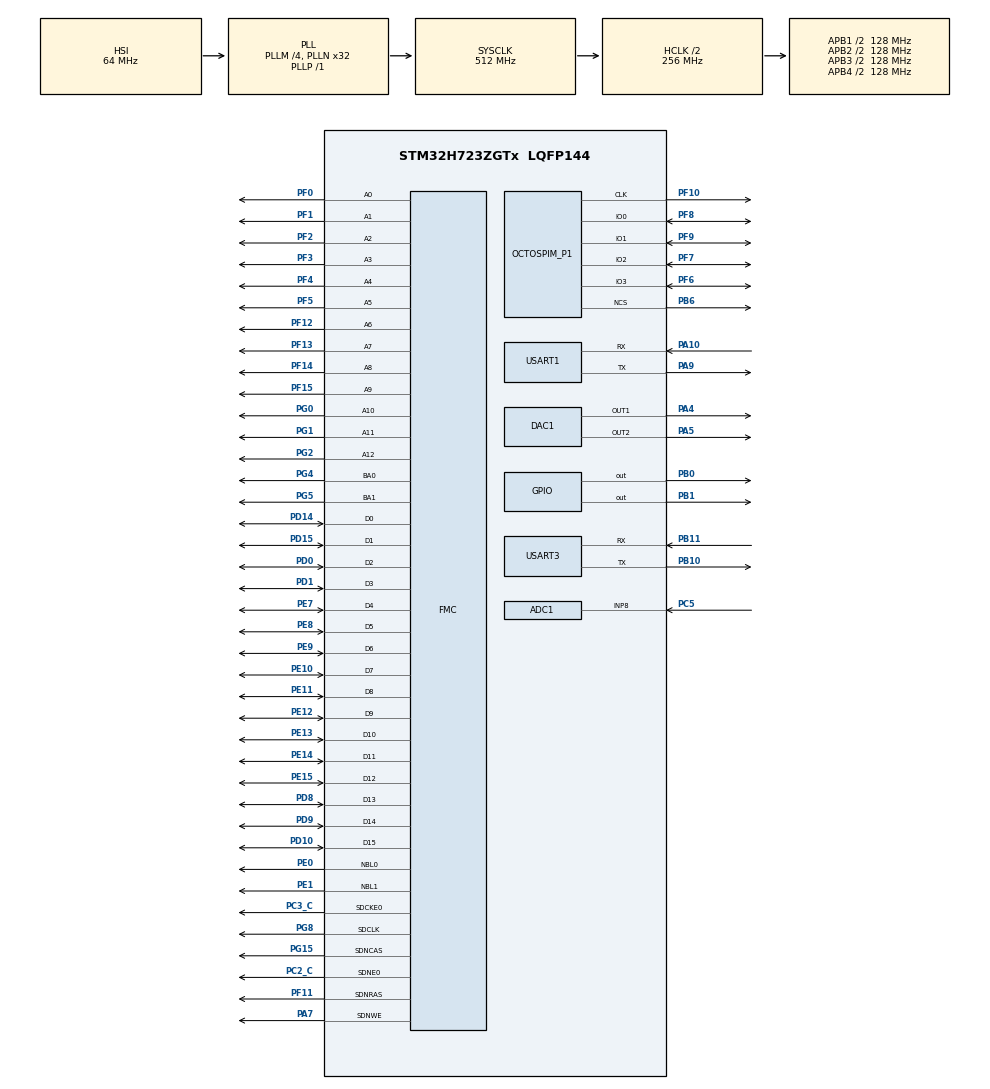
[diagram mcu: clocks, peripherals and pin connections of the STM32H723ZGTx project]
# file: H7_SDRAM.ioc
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ADC1.Channel-3\#ChannelRegularConversion=ADC_CHANNEL_8
ADC1.ClockPrescaler=ADC_CLOCK_ASYNC_DIV4
ADC1.ConversionDataManagement=ADC_CONVERSIONDATA_DMA_CIRCULAR
ADC1.ExternalTrigConv=ADC_EXTERNALTRIG_T4_TRGO
ADC1.NbrOfConversionFlag=1
ADC1.OffsetNumber-3\#ChannelRegularConversion=ADC_OFFSET_NONE
ADC1.OffsetSignedSaturation-3\#ChannelRegularConversion=DISABLE
ADC1.Rank-3\#ChannelRegularConversion=1
ADC1.Resolution=ADC_RESOLUTION_12B
ADC1.SamplingTime-3\#ChannelRegularConversion=ADC_SAMPLETIME_8CYCLES_5
ADC1.master=1
CORTEX_M7.AccessPermission_S-Cortex_Memory_Protection_Unit_Region1_Settings_S=MPU_REGION_FULL_ACCESS
CORTEX_M7.AccessPermission_S-Cortex_Memory_Protection_Unit_Region2_Settings_S=MPU_REGION_FULL_ACCESS
CORTEX_M7.AccessPermission_S-Cortex_Memory_Protection_Unit_Region3_Settings_S=MPU_REGION_FULL_ACCESS
CORTEX_M7.AccessPermission_S-Cortex_Memory_Protection_Unit_Region5_Settings_S=MPU_REGION_FULL_ACCESS
CORTEX_M7.AccessPermission_Spec=MPU_REGION_FULL_ACCESS
CORTEX_M7.BaseAddress_S-Cortex_Memory_Protection_Unit_Region1_Settings_S=0x60000000
CORTEX_M7.BaseAddress_S-Cortex_Memory_Protection_Unit_Region2_Settings_S=0x30000000
CORTEX_M7.BaseAddress_S-Cortex_Memory_Protection_Unit_Region3_Settings_S=0x38000000
CORTEX_M7.BaseAddress_S-Cortex_Memory_Protection_Unit_Region5_Settings_S=0xC0000000
CORTEX_M7.BaseAddress_Spec=0x24000000
CORTEX_M7.CPU_DCache=Enabled
CORTEX_M7.CPU_ICache=Enabled
CORTEX_M7.DisableExec_S-Cortex_Memory_Protection_Unit_Region1_Settings_S=MPU_INSTRUCTION_ACCESS_ENABLE
CORTEX_M7.DisableExec_S-Cortex_Memory_Protection_Unit_Region2_Settings_S=MPU_INSTRUCTION_ACCESS_ENABLE
CORTEX_M7.DisableExec_S-Cortex_Memory_Protection_Unit_Region3_Settings_S=MPU_INSTRUCTION_ACCESS_ENABLE
CORTEX_M7.DisableExec_Spec=MPU_INSTRUCTION_ACCESS_ENABLE
CORTEX_M7.Enable_S-Cortex_Memory_Protection_Unit_Region1_Settings_S=MPU_REGION_ENABLE
CORTEX_M7.Enable_S-Cortex_Memory_Protection_Unit_Region2_Settings_S=MPU_REGION_ENABLE
CORTEX_M7.Enable_S-Cortex_Memory_Protection_Unit_Region3_Settings_S=MPU_REGION_ENABLE
CORTEX_M7.Enable_S-Cortex_Memory_Protection_Unit_Region4_Settings_S=__NULL
CORTEX_M7.Enable_S-Cortex_Memory_Protection_Unit_Region5_Settings_S=MPU_REGION_ENABLE
CORTEX_M7.IsBufferable_S-Cortex_Memory_Protection_Unit_Region1_Settings_S=MPU_ACCESS_BUFFERABLE
CORTEX_M7.IsBufferable_S-Cortex_Memory_Protection_Unit_Region2_Settings_S=MPU_ACCESS_BUFFERABLE
CORTEX_M7.IsBufferable_Spec=MPU_ACCESS_BUFFERABLE
CORTEX_M7.IsCacheable_S-Cortex_Memory_Protection_Unit_Region1_Settings_S=MPU_ACCESS_NOT_CACHEABLE
CORTEX_M7.IsCacheable_S-Cortex_Memory_Protection_Unit_Region2_Settings_S=MPU_ACCESS_CACHEABLE
CORTEX_M7.IsCacheable_S-Cortex_Memory_Protection_Unit_Region3_Settings_S=MPU_ACCESS_CACHEABLE
CORTEX_M7.IsCacheable_S-Cortex_Memory_Protection_Unit_Region5_Settings_S=MPU_ACCESS_CACHEABLE
CORTEX_M7.IsCacheable_Spec=MPU_ACCESS_CACHEABLE
CORTEX_M7.IsShareable_Spec=MPU_ACCESS_NOT_SHAREABLE
CORTEX_M7.Size_S-Cortex_Memory_Protection_Unit_Region1_Settings_S=MPU_REGION_SIZE_64KB
CORTEX_M7.Size_S-Cortex_Memory_Protection_Unit_Region2_Settings_S=MPU_REGION_SIZE_64KB
CORTEX_M7.Size_S-Cortex_Memory_Protection_Unit_Region3_Settings_S=MPU_REGION_SIZE_64KB
CORTEX_M7.Size_S-Cortex_Memory_Protection_Unit_Region5_Settings_S=MPU_REGION_SIZE_32MB
CORTEX_M7.Size_Spec=MPU_REGION_SIZE_512KB
CORTEX_M7.SubRegionDisable_S-Cortex_Memory_Protection_Unit_Region1_Settings_S=0x00
CORTEX_M7.SubRegionDisable_Spec=0xE0
CORTEX_M7.TypeExtField_S-Cortex_Memory_Protection_Unit_Region1_Settings_S=MPU_TEX_LEVEL1
CORTEX_M7.TypeExtField_S-Cortex_Memory_Protection_Unit_Region5_Settings_S=MPU_TEX_LEVEL1
CORTEX_M7.TypeExtField_Spec=MPU_TEX_LEVEL1
CORTEX_M7.default_mode_Activation=1
DAC1.DAC_Channel-DAC_OUT1=DAC_CHANNEL_1
DAC1.DAC_Channel-DAC_OUT2=DAC_CHANNEL_2
DAC1.DAC_Trigger-DAC_OUT1=DAC_TRIGGER_T4_TRGO
DAC1.DAC_Trigger-DAC_OUT2=DAC_TRIGGER_T4_TRGO
Dma.ADC1.3.Direction=DMA_PERIPH_TO_MEMORY
Dma.ADC1.3.EventEnable=DISABLE
Dma.ADC1.3.FIFOMode=DMA_FIFOMODE_DISABLE
Dma.ADC1.3.Instance=DMA1_Stream0
Dma.ADC1.3.MemDataAlignment=DMA_MDATAALIGN_HALFWORD
Dma.ADC1.3.MemInc=DMA_MINC_ENABLE
Dma.ADC1.3.Mode=DMA_CIRCULAR
Dma.ADC1.3.PeriphDataAlignment=DMA_PDATAALIGN_HALFWORD
Dma.ADC1.3.PeriphInc=DMA_PINC_DISABLE
Dma.ADC1.3.Polarity=HAL_DMAMUX_REQ_GEN_RISING
Dma.ADC1.3.Priority=DMA_PRIORITY_HIGH
Dma.ADC1.3.RequestNumber=1
Dma.ADC1.3.SignalID=NONE
Dma.ADC1.3.SyncEnable=DISABLE
Dma.ADC1.3.SyncPolarity=HAL_DMAMUX_SYNC_NO_EVENT
Dma.ADC1.3.SyncRequestNumber=1
Dma.ADC1.3.SyncSignalID=NONE
Dma.DAC1_CH1.2.Direction=DMA_MEMORY_TO_PERIPH
Dma.DAC1_CH1.2.EventEnable=DISABLE
Dma.DAC1_CH1.2.FIFOMode=DMA_FIFOMODE_DISABLE
Dma.DAC1_CH1.2.Instance=DMA1_Stream3
Dma.DAC1_CH1.2.MemDataAlignment=DMA_MDATAALIGN_HALFWORD
Dma.DAC1_CH1.2.MemInc=DMA_MINC_ENABLE
Dma.DAC1_CH1.2.Mode=DMA_CIRCULAR
Dma.DAC1_CH1.2.PeriphDataAlignment=DMA_PDATAALIGN_HALFWORD
Dma.DAC1_CH1.2.PeriphInc=DMA_PINC_DISABLE
Dma.DAC1_CH1.2.Polarity=HAL_DMAMUX_REQ_GEN_RISING
Dma.DAC1_CH1.2.Priority=DMA_PRIORITY_HIGH
Dma.DAC1_CH1.2.RequestNumber=1
Dma.DAC1_CH1.2.SignalID=NONE
Dma.DAC1_CH1.2.SyncEnable=DISABLE
Dma.DAC1_CH1.2.SyncPolarity=HAL_DMAMUX_SYNC_NO_EVENT
Dma.DAC1_CH1.2.SyncRequestNumber=1
Dma.DAC1_CH1.2.SyncSignalID=NONE
Dma.DAC1_CH2.4.Direction=DMA_MEMORY_TO_PERIPH
Dma.DAC1_CH2.4.EventEnable=DISABLE
Dma.DAC1_CH2.4.FIFOMode=DMA_FIFOMODE_DISABLE
Dma.DAC1_CH2.4.Instance=DMA1_Stream5
Dma.DAC1_CH2.4.MemDataAlignment=DMA_MDATAALIGN_HALFWORD
Dma.DAC1_CH2.4.MemInc=DMA_MINC_ENABLE
Dma.DAC1_CH2.4.Mode=DMA_CIRCULAR
Dma.DAC1_CH2.4.PeriphDataAlignment=DMA_PDATAALIGN_HALFWORD
Dma.DAC1_CH2.4.PeriphInc=DMA_PINC_DISABLE
Dma.DAC1_CH2.4.Polarity=HAL_DMAMUX_REQ_GEN_RISING
Dma.DAC1_CH2.4.Priority=DMA_PRIORITY_HIGH
Dma.DAC1_CH2.4.RequestNumber=1
Dma.DAC1_CH2.4.SignalID=NONE
Dma.DAC1_CH2.4.SyncEnable=DISABLE
Dma.DAC1_CH2.4.SyncPolarity=HAL_DMAMUX_SYNC_NO_EVENT
Dma.DAC1_CH2.4.SyncRequestNumber=1
Dma.DAC1_CH2.4.SyncSignalID=NONE
Dma.Request0=USART1_RX
Dma.Request1=USART3_RX
Dma.Request2=DAC1_CH1
Dma.Request3=ADC1
Dma.Request4=DAC1_CH2
Dma.USART1_RX.0.Direction=DMA_PERIPH_TO_MEMORY
Dma.USART1_RX.0.EventEnable=DISABLE
Dma.USART1_RX.0.FIFOMode=DMA_FIFOMODE_DISABLE
Dma.USART1_RX.0.Instance=DMA1_Stream1
Dma.USART1_RX.0.MemDataAlignment=DMA_MDATAALIGN_BYTE
Dma.USART1_RX.0.MemInc=DMA_MINC_ENABLE
Dma.USART1_RX.0.Mode=DMA_NORMAL
Dma.USART1_RX.0.PeriphDataAlignment=DMA_PDATAALIGN_BYTE
Dma.USART1_RX.0.PeriphInc=DMA_PINC_DISABLE
Dma.USART1_RX.0.Polarity=HAL_DMAMUX_REQ_GEN_RISING
Dma.USART1_RX.0.Priority=DMA_PRIORITY_HIGH
Dma.USART1_RX.0.RequestNumber=1
Dma.USART1_RX.0.SignalID=NONE
Dma.USART1_RX.0.SyncEnable=DISABLE
Dma.USART1_RX.0.SyncPolarity=HAL_DMAMUX_SYNC_NO_EVENT
Dma.USART1_RX.0.SyncRequestNumber=1
Dma.USART1_RX.0.SyncSignalID=NONE
Dma.USART3_RX.1.Direction=DMA_PERIPH_TO_MEMORY
Dma.USART3_RX.1.EventEnable=DISABLE
Dma.USART3_RX.1.FIFOMode=DMA_FIFOMODE_DISABLE
Dma.USART3_RX.1.Instance=DMA1_Stream2
Dma.USART3_RX.1.MemDataAlignment=DMA_MDATAALIGN_BYTE
Dma.USART3_RX.1.MemInc=DMA_MINC_ENABLE
Dma.USART3_RX.1.Mode=DMA_NORMAL
Dma.USART3_RX.1.PeriphDataAlignment=DMA_PDATAALIGN_BYTE
Dma.USART3_RX.1.PeriphInc=DMA_PINC_DISABLE
Dma.USART3_RX.1.Polarity=HAL_DMAMUX_REQ_GEN_RISING
Dma.USART3_RX.1.Priority=DMA_PRIORITY_MEDIUM
Dma.USART3_RX.1.RequestNumber=1
Dma.USART3_RX.1.SignalID=NONE
Dma.USART3_RX.1.SyncEnable=DISABLE
Dma.USART3_RX.1.SyncPolarity=HAL_DMAMUX_SYNC_NO_EVENT
Dma.USART3_RX.1.SyncRequestNumber=1
Dma.USART3_RX.1.SyncSignalID=NONE
FMC.CASLatency1=FMC_SDRAM_CAS_LATENCY_3
FMC.ColumnBitsNumber1=FMC_SDRAM_COLUMN_BITS_NUM_9
FMC.ExitSelfRefreshDelay1=10
FMC.LoadToActiveDelay1=2
FMC.RCDDelay1=2
FMC.RPDelay1=3
FMC.RPDelay2=3
FMC.ReadBurst1=FMC_SDRAM_RBURST_ENABLE
FMC.ReadPipeDelay1=FMC_SDRAM_RPIPE_DELAY_1
FMC.ReadPipeDelay2=FMC_SDRAM_RPIPE_DELAY_1
FMC.RowCycleDelay1=9
FMC.RowCycleDelay2=9
FMC.SDClockPeriod1=FMC_SDRAM_CLOCK_PERIOD_2
FMC.SelfRefreshTime1=6
FMC.WriteRecoveryTime1=4
Mcu.Family=STM32H7
Mcu.Name=STM32H723ZGTx
Mcu.Package=LQFP144
NVIC.ADC_IRQn=true\:0\:0\:false\:false\:true\:true\:true\:true
NVIC.DMA1_Stream0_IRQn=true\:0\:0\:false\:false\:true\:false\:true\:true
NVIC.DMA1_Stream1_IRQn=true\:1\:0\:true\:false\:true\:false\:true\:true
NVIC.DMA1_Stream2_IRQn=true\:0\:0\:false\:false\:true\:false\:true\:true
NVIC.DMA1_Stream3_IRQn=true\:0\:0\:false\:false\:true\:false\:true\:true
NVIC.DMA1_Stream5_IRQn=true\:0\:0\:false\:false\:true\:false\:true\:true
NVIC.PriorityGroup=NVIC_PRIORITYGROUP_4
NVIC.TIM6_DAC_IRQn=true\:0\:0\:false\:false\:true\:true\:true\:true
NVIC.USART1_IRQn=true\:0\:0\:false\:false\:true\:true\:true\:true
NVIC.USART3_IRQn=true\:0\:0\:false\:false\:true\:true\:true\:true
OCTOSPI1.ChipSelectHighTime=4
OCTOSPI1.ClockPrescaler=3
OCTOSPI1.DeviceSize=23
OCTOSPI1.FifoThreshold=4
OCTOSPI1.SampleShifting=HAL_OSPI_SAMPLE_SHIFTING_HALFCYCLE
PA10.Mode=Asynchronous
PA10.Signal=USART1_RX
PA4.Signal=COMP_DAC11_group
PA5.Signal=COMP_DAC12_group
PA7.Signal=FMC_SDNWE
PA9.Mode=Asynchronous
PA9.Signal=USART1_TX
PB0.GPIO_Speed=GPIO_SPEED_FREQ_VERY_HIGH
PB0.PinState=GPIO_PIN_SET
PB0.Signal=GPIO_Output
PB1.GPIO_Speed=GPIO_SPEED_FREQ_VERY_HIGH
PB1.PinState=GPIO_PIN_SET
PB1.Signal=GPIO_Output
PB10.Mode=Asynchronous
PB10.Signal=USART3_TX
PB11.Mode=Asynchronous
PB11.Signal=USART3_RX
PB6.Mode=OCTOSPI1_Port1_NCS
PB6.Signal=OCTOSPIM_P1_NCS
PC14-OSC32_IN.Mode=LSE-External-Oscillator
PC14-OSC32_IN.Signal=RCC_OSC32_IN
PC15-OSC32_OUT.Mode=LSE-External-Oscillator
PC15-OSC32_OUT.Signal=RCC_OSC32_OUT
PC2_C.Mode=SdramChipSelect1_1
PC2_C.Signal=FMC_SDNE0
PC3_C.Mode=SdramChipSelect1_1
PC3_C.Signal=FMC_SDCKE0
PC5.Signal=ADCx_INP8
PD0.Signal=FMC_D2_DA2
PD1.Signal=FMC_D3_DA3
PD10.Signal=FMC_D15_DA15
PD14.Signal=FMC_D0_DA0
PD15.Signal=FMC_D1_DA1
PD8.Signal=FMC_D13_DA13
PD9.Signal=FMC_D14_DA14
PE0.Signal=FMC_NBL0
PE1.Signal=FMC_NBL1
PE10.Signal=FMC_D7_DA7
PE11.Signal=FMC_D8_DA8
PE12.Signal=FMC_D9_DA9
PE13.Signal=FMC_D10_DA10
PE14.Signal=FMC_D11_DA11
PE15.Signal=FMC_D12_DA12
PE7.Signal=FMC_D4_DA4
PE8.Signal=FMC_D5_DA5
PE9.Signal=FMC_D6_DA6
PF0.Signal=FMC_A0
PF1.Signal=FMC_A1
PF10.Mode=O1_P1_CLK
PF10.Signal=OCTOSPIM_P1_CLK
PF11.Signal=FMC_SDNRAS
PF12.Signal=FMC_A6
PF13.Signal=FMC_A7
PF14.Signal=FMC_A8
PF15.Signal=FMC_A9
PF2.Signal=FMC_A2
PF3.Signal=FMC_A3
PF4.Signal=FMC_A4
PF5.Signal=FMC_A5
PF6.Mode=OCTOSPI1_IOL_Port1L
PF6.Signal=OCTOSPIM_P1_IO3
PF7.Mode=OCTOSPI1_IOL_Port1L
PF7.Signal=OCTOSPIM_P1_IO2
PF8.Mode=OCTOSPI1_IOL_Port1L
PF8.Signal=OCTOSPIM_P1_IO0
PF9.Mode=OCTOSPI1_IOL_Port1L
PF9.Signal=OCTOSPIM_P1_IO1
PG0.Signal=FMC_A10
PG1.Signal=FMC_A11
PG15.Signal=FMC_SDNCAS
PG2.Signal=FMC_A12
PG4.Signal=FMC_A14_BA0
PG5.Signal=FMC_A15_BA1
PG8.Signal=FMC_SDCLK
PH0-OSC_IN.Mode=HSE-External-Oscillator
PH0-OSC_IN.Signal=RCC_OSC_IN
PH1-OSC_OUT.Mode=HSE-External-Oscillator
PH1-OSC_OUT.Signal=RCC_OSC_OUT
ProjectManager.HeapSize=0x4000
ProjectManager.StackSize=0x4000
ProjectManager.TargetToolchain=MDK-ARM V5.32
RCC.ADCCLockSelection=RCC_ADCCLKSOURCE_CLKP
RCC.ADCFreq_Value=64000000
RCC.APB1Freq_Value=128000000
RCC.APB2Freq_Value=128000000
RCC.APB3Freq_Value=128000000
RCC.APB4Freq_Value=128000000
RCC.CortexFreq_Value=512000000
RCC.D1PPRE=RCC_APB3_DIV2
RCC.D2PPRE1=RCC_APB1_DIV2
RCC.D2PPRE2=RCC_APB2_DIV2
RCC.D3PPRE=RCC_APB4_DIV2
RCC.DIVM1=4
RCC.DIVN1=32
RCC.DIVP1=1
RCC.HCLKFreq_Value=256000000
RCC.HPRE=RCC_HCLK_DIV2
RCC.PLL2FRACN=0
RCC.PLL3FRACN=0
RCC.PLLFRACN=0
RCC.SYSCLKFreq_VALUE=512000000
RCC.SYSCLKSource=RCC_SYSCLKSOURCE_PLLCLK
RCC.USBFreq_Value=256000000
SH.ADCx_INP8.0=ADC1_INP8,IN8-Single-Ended
SH.COMP_DAC11_group.0=DAC1_OUT1,DAC_OUT1
SH.COMP_DAC12_group.0=DAC1_OUT2,DAC_OUT2
SH.FMC_A0.0=FMC_A0,13b-sda1
SH.FMC_A1.0=FMC_A1,13b-sda1
SH.FMC_A10.0=FMC_A10,13b-sda1
SH.FMC_A11.0=FMC_A11,13b-sda1
SH.FMC_A12.0=FMC_A12,13b-sda1
SH.FMC_A14_BA0.0=FMC_BA0,FourSdramBanks1
SH.FMC_A15_BA1.0=FMC_BA1,FourSdramBanks1
SH.FMC_A2.0=FMC_A2,13b-sda1
SH.FMC_A3.0=FMC_A3,13b-sda1
SH.FMC_A4.0=FMC_A4,13b-sda1
SH.FMC_A5.0=FMC_A5,13b-sda1
SH.FMC_A6.0=FMC_A6,13b-sda1
SH.FMC_A7.0=FMC_A7,13b-sda1
SH.FMC_A8.0=FMC_A8,13b-sda1
SH.FMC_A9.0=FMC_A9,13b-sda1
SH.FMC_D0_DA0.0=FMC_D0,sd-16b-d1
SH.FMC_D10_DA10.0=FMC_D10,sd-16b-d1
SH.FMC_D11_DA11.0=FMC_D11,sd-16b-d1
SH.FMC_D12_DA12.0=FMC_D12,sd-16b-d1
SH.FMC_D13_DA13.0=FMC_D13,sd-16b-d1
SH.FMC_D14_DA14.0=FMC_D14,sd-16b-d1
SH.FMC_D15_DA15.0=FMC_D15,sd-16b-d1
SH.FMC_D1_DA1.0=FMC_D1,sd-16b-d1
SH.FMC_D2_DA2.0=FMC_D2,sd-16b-d1
SH.FMC_D3_DA3.0=FMC_D3,sd-16b-d1
SH.FMC_D4_DA4.0=FMC_D4,sd-16b-d1
SH.FMC_D5_DA5.0=FMC_D5,sd-16b-d1
SH.FMC_D6_DA6.0=FMC_D6,sd-16b-d1
SH.FMC_D7_DA7.0=FMC_D7,sd-16b-d1
SH.FMC_D8_DA8.0=FMC_D8,sd-16b-d1
SH.FMC_D9_DA9.0=FMC_D9,sd-16b-d1
SH.FMC_NBL0.0=FMC_NBL0,Sd2ByteEnable1
SH.FMC_NBL1.0=FMC_NBL1,Sd2ByteEnable1
SH.FMC_SDCLK.0=FMC_SDCLK,13b-sda1
SH.FMC_SDNCAS.0=FMC_SDNCAS,13b-sda1
SH.FMC_SDNRAS.0=FMC_SDNRAS,13b-sda1
SH.FMC_SDNWE.0=FMC_SDNWE,13b-sda1
TIM3.AutoReloadPreload=TIM_AUTORELOAD_PRELOAD_ENABLE
TIM3.Period=110-1
TIM3.Prescaler=275-1
TIM3.TIM_MasterOutputTrigger=TIM_TRGO_UPDATE
TIM4.AutoReloadPreload=TIM_AUTORELOAD_PRELOAD_ENABLE
TIM4.Period=11-1
TIM4.Prescaler=50-1
TIM4.TIM_MasterOutputTrigger=TIM_TRGO_UPDATE
USART1.VirtualMode-Asynchronous=VM_ASYNC
USART3.VirtualMode-Asynchronous=VM_ASYNC
VP_MEMORYMAP_VS_MEMORYMAP.Mode=CurAppReg
VP_OCTOSPI1_VS_quad.Mode=quad_mode
VP_TIM3_VS_ClockSourceINT.Mode=Internal
VP_TIM4_VS_ClockSourceINT.Mode=Internal
board=custom

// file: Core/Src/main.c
/* USER CODE BEGIN Header */
/**
  ******************************************************************************
  * @file           : main.c
  * @brief          : Main program body
  ******************************************************************************
  * @attention
  *
  * Copyright (c) 2026 STMicroelectronics.
  * All rights reserved.
  *
  * This software is licensed under terms that can be found in the LICENSE file
  * in the root directory of this software component.
  * If no LICENSE file comes with this software, it is provided AS-IS.
  *
  ******************************************************************************
  */
/* USER CODE END Header */
#include "main.h"
#include "adc.h"
#include "dac.h"
#include "dma.h"
#include "octospi.h"
#include "tim.h"
#include "usart.h"
#include "gpio.h"
#include "fmc.h"

/* USER CODE BEGIN Includes */
#include "bspsysteam.h"

/* USER CODE END Includes */

void SystemClock_Config(void);
void PeriphCommonClock_Config(void);
static void MPU_Config(void);

/* USER CODE BEGIN 0 */

/* USER CODE BEGIN Includes */
#include "arm_math.h"
#include <string.h>
#include <stdint.h>
/* USER CODE END Includes */

/* USER CODE BEGIN 0 */

/* ===================== 参数配置 ===================== */

/* ===================== 参数配置 ===================== */

#define CACHE_LINE_SIZE         32U

#define FFT_LENGTH              4096U
#define ADC_DMA_LENGTH          (FFT_LENGTH * 2U)
#define DAC_DMA_LENGTH          (FFT_LENGTH * 2U)

#define SAMPLE_RATE             512000.0f
#define FFT_BIN_HZ              (SAMPLE_RATE / (float32_t)FFT_LENGTH)

#define DAC_CENTER              2048.0f

#define DC_IGNORE_BINS          4U

/*
 * 512kHz / 4096 = 125Hz
 * 1kHz = 8 个 FFT bin
 */
#define BINS_PER_1KHZ           8U

#define DEFAULT_OUTPUT_GAIN     0.8f

/*
 * 块间连续 + 慢速跟踪的相位修正系数。
 *
 * 0.01f  更平滑，但锁相更慢
 * 0.03f  一般比较折中
 * 0.08f  跟踪更快，但更容易看到块间晃动
 */
#define PHASE_TRACK_ALPHA       0.03f

/*
 * 频点锁定/滞回参数。
 *
 * PEAK_SWITCH_RATIO:
 *     新频点能量必须大于当前锁定频点能量的这个倍数，才允许切换。
 *
 * PEAK_UNLOCK_RATIO:
 *     如果当前锁定频点能量低于候选最大频点能量的这个比例，认为当前锁定失效。
 *
 * PEAK_MIN_MAG2:
 *     太小的信号不锁定，防止噪声乱跳。
 */
#define PEAK_SWITCH_RATIO       1.40f
#define PEAK_UNLOCK_RATIO       0.35f
#define PEAK_MIN_MAG2           1000.0f

/*
 * CMSIS arm_cfft_f32 的 IFFT 一般已经带 1/N 缩放。
 * 如果你的输出幅值大了 4096 倍，把这里改成：
 * #define IFFT_EXTRA_SCALE      (1.0f / (float32_t)FFT_LENGTH)
 */
#define IFFT_EXTRA_SCALE        1.0f

#ifndef PI
#define PI                      3.14159265358979323846f
#endif

/* ===================== 外部句柄 ===================== */

extern ADC_HandleTypeDef hadc1;
extern DAC_HandleTypeDef hdac1;
extern TIM_HandleTypeDef htim4;

/* ===================== 用户运行中可改参数 ===================== */

volatile float32_t user_phase_shift_rad = 0.0f;
volatile float32_t user_output_gain = DEFAULT_OUTPUT_GAIN;

/* ===================== DMA Buffer ===================== */

__attribute__((section(".RAM_D1"), aligned(32)))
uint16_t adc_dma_buf[ADC_DMA_LENGTH];

__attribute__((section(".RAM_D1"), aligned(32)))
uint16_t dac_dma_buf[DAC_DMA_LENGTH];

/* ===================== DSP Buffer ===================== */

__attribute__((section(".DTCM_DATA"), aligned(32)))
float32_t fft_buffer[FFT_LENGTH * 2U];

static arm_cfft_instance_f32 fft_inst;

/* ===================== 乒乓标志 ===================== */

volatile uint8_t adc_half_ready = 0U;
volatile uint8_t adc_full_ready = 0U;
volatile uint8_t dac_half_free = 0U;
volatile uint8_t dac_full_free = 0U;

/* ===================== 相位连续状态 ===================== */

static float32_t output_phase_state = 0.0f;
static float32_t last_user_phase_shift_rad = 0.0f;
static uint32_t last_peak_bin = 0U;
static uint8_t output_phase_state_valid = 0U;

/* ===================== 频点锁定状态 ===================== */

static uint32_t locked_peak_bin = 0U;
static uint8_t peak_lock_valid = 0U;

/* ===================== Cache 操作 ===================== */

__attribute__((section(".ITCM_CODE")))
static void DCache_Invalidate_By_Addr(void *addr, uint32_t size)
{
    uint32_t start_addr = (uint32_t)addr;
    uint32_t end_addr = start_addr + size;

    start_addr &= ~(CACHE_LINE_SIZE - 1U);
    end_addr = (end_addr + CACHE_LINE_SIZE - 1U) & ~(CACHE_LINE_SIZE - 1U);

    SCB_InvalidateDCache_by_Addr((uint32_t *)start_addr,
                                 (int32_t)(end_addr - start_addr));
}

__attribute__((section(".ITCM_CODE")))
static void DCache_Clean_By_Addr(void *addr, uint32_t size)
{
    uint32_t start_addr = (uint32_t)addr;
    uint32_t end_addr = start_addr + size;

    start_addr &= ~(CACHE_LINE_SIZE - 1U);
    end_addr = (end_addr + CACHE_LINE_SIZE - 1U) & ~(CACHE_LINE_SIZE - 1U);

    SCB_CleanDCache_by_Addr((uint32_t *)start_addr,
                            (int32_t)(end_addr - start_addr));
}

/* ===================== 工具函数 ===================== */

__attribute__((section(".ITCM_CODE")))
static float32_t wrap_to_pi(float32_t x)
{
    while (x > PI) {
        x -= 2.0f * PI;
    }

    while (x < -PI) {
        x += 2.0f * PI;
    }

    return x;
}

__attribute__((section(".ITCM_CODE")))
static float32_t clamp_f32(float32_t x, float32_t min_v, float32_t max_v)
{
    if (x < min_v) {
        return min_v;
    }

    if (x > max_v) {
        return max_v;
    }

    return x;
}

__attribute__((section(".ITCM_CODE")))
static float32_t get_bin_mag2(const float32_t *buf, uint32_t bin)
{
    float32_t re;
    float32_t im;

    if ((bin == 0U) || (bin >= (FFT_LENGTH / 2U))) {
        return 0.0f;
    }

    re = buf[bin * 2U];
    im = buf[bin * 2U + 1U];

    return re * re + im * im;
}

__attribute__((section(".ITCM_CODE")))
static uint32_t snap_bin_to_1khz_multiple(uint32_t bin)
{
    uint32_t snapped;

    if (bin < BINS_PER_1KHZ) {
        return BINS_PER_1KHZ;
    }

    snapped = ((bin + (BINS_PER_1KHZ / 2U)) / BINS_PER_1KHZ) * BINS_PER_1KHZ;

    if (snapped < BINS_PER_1KHZ) {
        snapped = BINS_PER_1KHZ;
    }

    if (snapped >= (FFT_LENGTH / 2U)) {
        snapped = (FFT_LENGTH / 2U) - BINS_PER_1KHZ;
    }

    return snapped;
}

__attribute__((section(".ITCM_CODE")))
static uint32_t find_raw_peak_bin(const float32_t *buf, float32_t *peak_mag2_out)
{
    float32_t max_mag2 = 0.0f;
    uint32_t max_bin = BINS_PER_1KHZ;

    for (uint32_t k = DC_IGNORE_BINS; k < (FFT_LENGTH / 2U); k++) {
        float32_t mag2 = get_bin_mag2(buf, k);

        if (mag2 > max_mag2) {
            max_mag2 = mag2;
            max_bin = k;
        }
    }

    *peak_mag2_out = max_mag2;

    return max_bin;
}

/*
 * 频点锁定/滞回。
 *
 * 已锁定时：
 * 1. 如果候选频点和锁定频点相同，继续保持。
 * 2. 如果候选频点不同，只有候选能量明显更强才切换。
 * 3. 如果锁定频点能量已经很弱，也允许切换。
 */
__attribute__((section(".ITCM_CODE")))
static uint32_t get_locked_peak_bin(const float32_t *buf)
{
    uint32_t raw_peak_bin;
    uint32_t candidate_bin;
    float32_t raw_peak_mag2;
    float32_t candidate_mag2;
    float32_t locked_mag2;

    raw_peak_bin = find_raw_peak_bin(buf, &raw_peak_mag2);
    candidate_bin = snap_bin_to_1khz_multiple(raw_peak_bin);
    candidate_mag2 = get_bin_mag2(buf, candidate_bin);

    if ((peak_lock_valid == 0U) || (candidate_mag2 < PEAK_MIN_MAG2)) {
        locked_peak_bin = candidate_bin;
        peak_lock_valid = 1U;
        return locked_peak_bin;
    }

    locked_mag2 = get_bin_mag2(buf, locked_peak_bin);

    if (candidate_bin == locked_peak_bin) {
        return locked_peak_bin;
    }

    if (locked_mag2 < PEAK_MIN_MAG2) {
        locked_peak_bin = candidate_bin;
        return locked_peak_bin;
    }

    if (locked_mag2 < (candidate_mag2 * PEAK_UNLOCK_RATIO)) {
        locked_peak_bin = candidate_bin;
        return locked_peak_bin;
    }

    if (candidate_mag2 > (locked_mag2 * PEAK_SWITCH_RATIO)) {
        locked_peak_bin = candidate_bin;
        return locked_peak_bin;
    }

    return locked_peak_bin;
}

__attribute__((section(".ITCM_CODE")))
static void zero_complex_spectrum(float32_t *buf)
{
    for (uint32_t i = 0; i < FFT_LENGTH * 2U; i++) {
        buf[i] = 0.0f;
    }
}

/*
 * 使用 tan(phi') 公式计算 Re' / Im'，并做象限修正。
 */
__attribute__((section(".ITCM_CODE")))
static void calc_re_im_by_tan_formula(float32_t amp,
                                      float32_t phase,
                                      float32_t *re_out,
                                      float32_t *im_out)
{
    float32_t phase_wrapped = wrap_to_pi(phase);
    float32_t cos_p = arm_cos_f32(phase_wrapped);
    float32_t sin_p = arm_sin_f32(phase_wrapped);
    float32_t tan_p;
    float32_t re_new;
    float32_t im_new;

    if (fabsf(cos_p) < 1.0e-6f) {
        *re_out = 0.0f;
        *im_out = (sin_p >= 0.0f) ? amp : -amp;
        return;
    }

    tan_p = sin_p / cos_p;

    re_new = sqrtf((amp * amp) / (1.0f + tan_p * tan_p));
    im_new = tan_p * re_new;

    if (cos_p < 0.0f) {
        re_new = -re_new;
        im_new = -im_new;
    }

    *re_out = re_new;
    *im_out = im_new;
}

/*
 * 块间相位连续 + 慢速输入相位跟踪。
 */
__attribute__((section(".ITCM_CODE")))
static float32_t get_continuous_block_phase(uint32_t peak_bin,
                                            float32_t measured_phase,
                                            float32_t phase_shift)
{
    float32_t desired_phase;
    float32_t phase_shift_delta;
    float32_t phase_error;

    desired_phase = wrap_to_pi(measured_phase + phase_shift);

    if ((output_phase_state_valid == 0U) || (peak_bin != last_peak_bin)) {
        output_phase_state = desired_phase;
        last_user_phase_shift_rad = phase_shift;
        last_peak_bin = peak_bin;
        output_phase_state_valid = 1U;
        return output_phase_state;
    }

    phase_shift_delta = phase_shift - last_user_phase_shift_rad;

    if (phase_shift_delta > PI) {
        phase_shift_delta -= 2.0f * PI;
    } else if (phase_shift_delta < -PI) {
        phase_shift_delta += 2.0f * PI;
    }

    output_phase_state = wrap_to_pi(output_phase_state + phase_shift_delta);

    phase_error = wrap_to_pi(desired_phase - output_phase_state);

    output_phase_state = wrap_to_pi(output_phase_state +
                                    PHASE_TRACK_ALPHA * phase_error);

    last_user_phase_shift_rad = phase_shift;
    last_peak_bin = peak_bin;

    return output_phase_state;
}

/* ===================== 初始化 ===================== */

void DSP_Process_Init(void)
{
    if (arm_cfft_init_f32(&fft_inst, FFT_LENGTH) != ARM_MATH_SUCCESS) {
        Error_Handler();
    }
}

static void Audio_DMA_Buffer_Init(void)
{
    for (uint32_t i = 0; i < DAC_DMA_LENGTH; i++) {
        dac_dma_buf[i] = (uint16_t)DAC_CENTER;
    }

    DCache_Invalidate_By_Addr(adc_dma_buf,
                              ADC_DMA_LENGTH * sizeof(uint16_t));

    DCache_Clean_By_Addr(dac_dma_buf,
                         DAC_DMA_LENGTH * sizeof(uint16_t));
}

/* ===================== 核心处理 ===================== */

__attribute__((section(".ITCM_CODE")))
void Process_FFT_IFFT_Block(uint32_t offset)
{
    uint32_t block_bytes = FFT_LENGTH * sizeof(uint16_t);

    uint32_t peak_bin;
    uint32_t mirror_bin;

    float32_t mean = 0.0f;

    float32_t re;
    float32_t im;
    float32_t amp;
    float32_t phase;

    float32_t output_phase;
    float32_t new_re;
    float32_t new_im;

    float32_t phase_shift;
    float32_t output_gain;

    DCache_Invalidate_By_Addr(&adc_dma_buf[offset], block_bytes);

    for (uint32_t i = 0; i < FFT_LENGTH; i++) {
        mean += (float32_t)adc_dma_buf[offset + i];
    }

    mean /= (float32_t)FFT_LENGTH;

    for (uint32_t i = 0; i < FFT_LENGTH; i++) {
        fft_buffer[i * 2U] = (float32_t)adc_dma_buf[offset + i] - mean;
        fft_buffer[i * 2U + 1U] = 0.0f;
    }

    arm_cfft_f32(&fft_inst, fft_buffer, 0, 1);

    /*
     * 频点锁定/滞回后的 peak_bin。
     * 这样不会因为高频时能量轻微抖动，在相邻频点之间来回跳。
     */
    peak_bin = get_locked_peak_bin(fft_buffer);
    mirror_bin = FFT_LENGTH - peak_bin;

    re = fft_buffer[peak_bin * 2U];
    im = fft_buffer[peak_bin * 2U + 1U];

    amp = sqrtf(re * re + im * im);
    phase = atan2f(im, re);

    phase_shift = user_phase_shift_rad;
    output_gain = clamp_f32(user_output_gain, 0.0f, 2.0f);

    output_phase = get_continuous_block_phase(peak_bin, phase, phase_shift);

    calc_re_im_by_tan_formula(amp, output_phase, &new_re, &new_im);

    zero_complex_spectrum(fft_buffer);

    fft_buffer[peak_bin * 2U] = new_re;
    fft_buffer[peak_bin * 2U + 1U] = new_im;

    fft_buffer[mirror_bin * 2U] = new_re;
    fft_buffer[mirror_bin * 2U + 1U] = -new_im;

    arm_cfft_f32(&fft_inst, fft_buffer, 1, 1);

    for (uint32_t i = 0; i < FFT_LENGTH; i++) {
        float32_t y = fft_buffer[i * 2U] * IFFT_EXTRA_SCALE;
        float32_t dac_f = DAC_CENTER + output_gain * y;

        dac_dma_buf[offset + i] = (uint16_t)__USAT((int32_t)dac_f, 12);
    }

    DCache_Clean_By_Addr(&dac_dma_buf[offset], block_bytes);
}

/* ===================== 乒乓调度 ===================== */

__attribute__((section(".ITCM_CODE")))
void adc_proc(void)
{
    uint8_t do_half = 0U;
    uint8_t do_full = 0U;

    __disable_irq();

    if ((adc_half_ready != 0U) && (dac_half_free != 0U)) {
        adc_half_ready = 0U;
        dac_half_free = 0U;
        do_half = 1U;
    }

    if ((adc_full_ready != 0U) && (dac_full_free != 0U)) {
        adc_full_ready = 0U;
        dac_full_free = 0U;
        do_full = 1U;
    }

    __enable_irq();

    if (do_half != 0U) {
        Process_FFT_IFFT_Block(0U);
    }

    if (do_full != 0U) {
        Process_FFT_IFFT_Block(FFT_LENGTH);
    }
}

/* ===================== ADC 回调 ===================== */

void HAL_ADC_ConvHalfCpltCallback(ADC_HandleTypeDef *hadc)
{
    if (hadc->Instance == ADC1) {
        adc_half_ready = 1U;
    }
}

void HAL_ADC_ConvCpltCallback(ADC_HandleTypeDef *hadc)
{
    if (hadc->Instance == ADC1) {
        adc_full_ready = 1U;
    }
}

/* ===================== DAC 回调 ===================== */

void HAL_DAC_ConvHalfCpltCallbackCh1(DAC_HandleTypeDef *hdac)
{
    if (hdac->Instance == DAC1) {
        dac_half_free = 1U;
    }
}

void HAL_DAC_ConvCpltCallbackCh1(DAC_HandleTypeDef *hdac)
{
    if (hdac->Instance == DAC1) {
        dac_full_free = 1U;
    }
}

void HAL_DAC_ErrorCallbackCh1(DAC_HandleTypeDef *hdac)
{
    if (hdac->Instance == DAC1) {
        Error_Handler();
    }
}

/* ===================== DMA 启动 ===================== */

void Audio_DMA_Start(void)
{
    Audio_DMA_Buffer_Init();

    adc_half_ready = 0U;
    adc_full_ready = 0U;
    dac_half_free = 0U;
    dac_full_free = 0U;

    output_phase_state = 0.0f;
    last_user_phase_shift_rad = user_phase_shift_rad;
    last_peak_bin = 0U;
    output_phase_state_valid = 0U;

    locked_peak_bin = 0U;
    peak_lock_valid = 0U;

    if (HAL_ADC_Start_DMA(&hadc1,
                          (uint32_t *)&adc_dma_buf[0],
                          ADC_DMA_LENGTH) != HAL_OK) {
        Error_Handler();
    }

    if (HAL_DAC_Start_DMA(&hdac1,
                          DAC_CHANNEL_1,
                          (uint32_t *)&dac_dma_buf[0],
                          DAC_DMA_LENGTH,
                          DAC_ALIGN_12B_R) != HAL_OK) {
        Error_Handler();
    }

    /*
     * TIM4 同时触发 ADC 和 DAC。
     *
     * CubeMX 需要设置：
     * ADC1 External Trigger = TIM4_TRGO
     * DAC1 CH1 Trigger      = TIM4_TRGO
     * TIM4 TRGO             = Update Event
     * TIM4 Update Frequency = 512kHz
     */
    if (HAL_TIM_Base_Start(&htim4) != HAL_OK) {
        Error_Handler();
    }
}

/* USER CODE END 0 */

int main(void)
{

  /* MPU Configuration--------------------------------------------------------*/
  MPU_Config();

  /* Enable the CPU Cache */

  /* Enable I-Cache---------------------------------------------------------*/
  SCB_EnableICache();

  /* Enable D-Cache---------------------------------------------------------*/
  SCB_EnableDCache();

  /* MCU Configuration--------------------------------------------------------*/

  /* Reset of all peripherals, Initializes the Flash interface and the Systick. */
  HAL_Init();

  /* Configure the system clock */
  SystemClock_Config();

  /* Configure the peripherals common clocks */
  PeriphCommonClock_Config();

  /* Initialize all configured peripherals */
  MX_GPIO_Init();
  MX_DMA_Init();
  MX_FMC_Init();
  MX_OCTOSPI1_Init();
  MX_USART1_UART_Init();
  MX_USART3_UART_Init();
  MX_TIM3_Init();
  MX_DAC1_Init();
  MX_TIM4_Init();
  MX_ADC1_Init();
  /* USER CODE BEGIN 2 */
	SRAM_Clock_Enable();    // 如果这个函数确实还需要，放在时钟后

  /* USER CODE END 2 */

  /* Infinite loop */
  /* USER CODE BEGIN WHILE */
	SRAM_Clock_Enable();

  scheduler_Init();

DSP_Process_Init();
Audio_DMA_Start();
  while (1)
  {
    /* USER CODE END WHILE */

    /* USER CODE BEGIN 3 */

	adc_proc();

  }
  /* USER CODE END 3 */
}

void SystemClock_Config(void)
{
  RCC_OscInitTypeDef RCC_OscInitStruct = {0};
  RCC_ClkInitTypeDef RCC_ClkInitStruct = {0};

  /** Supply configuration update enable
  */
  HAL_PWREx_ConfigSupply(PWR_LDO_SUPPLY);

  /** Configure the main internal regulator output voltage
  */
  __HAL_PWR_VOLTAGESCALING_CONFIG(PWR_REGULATOR_VOLTAGE_SCALE0);

  while(!__HAL_PWR_GET_FLAG(PWR_FLAG_VOSRDY)) {}

  /** Initializes the RCC Oscillators according to the specified parameters
  * in the RCC_OscInitTypeDef structure.
  */
  RCC_OscInitStruct.OscillatorType = RCC_OSCILLATORTYPE_HSI;
  RCC_OscInitStruct.HSIState = RCC_HSI_DIV1;
  RCC_OscInitStruct.HSICalibrationValue = 64;
  RCC_OscInitStruct.PLL.PLLState = RCC_PLL_ON;
  RCC_OscInitStruct.PLL.PLLSource = RCC_PLLSOURCE_HSI;
  RCC_OscInitStruct.PLL.PLLM = 4;
  RCC_OscInitStruct.PLL.PLLN = 32;
  RCC_OscInitStruct.PLL.PLLP = 1;
  RCC_OscInitStruct.PLL.PLLQ = 2;
  RCC_OscInitStruct.PLL.PLLR = 2;
  RCC_OscInitStruct.PLL.PLLRGE = RCC_PLL1VCIRANGE_3;
  RCC_OscInitStruct.PLL.PLLVCOSEL = RCC_PLL1VCOWIDE;
  RCC_OscInitStruct.PLL.PLLFRACN = 0;
  if (HAL_RCC_OscConfig(&RCC_OscInitStruct) != HAL_OK)
  {
    Error_Handler();
  }

  /** Initializes the CPU, AHB and APB buses clocks
  */
  RCC_ClkInitStruct.ClockType = RCC_CLOCKTYPE_HCLK|RCC_CLOCKTYPE_SYSCLK
                              |RCC_CLOCKTYPE_PCLK1|RCC_CLOCKTYPE_PCLK2
                              |RCC_CLOCKTYPE_D3PCLK1|RCC_CLOCKTYPE_D1PCLK1;
  RCC_ClkInitStruct.SYSCLKSource = RCC_SYSCLKSOURCE_PLLCLK;
  RCC_ClkInitStruct.SYSCLKDivider = RCC_SYSCLK_DIV1;
  RCC_ClkInitStruct.AHBCLKDivider = RCC_HCLK_DIV2;
  RCC_ClkInitStruct.APB3CLKDivider = RCC_APB3_DIV2;
  RCC_ClkInitStruct.APB1CLKDivider = RCC_APB1_DIV2;
  RCC_ClkInitStruct.APB2CLKDivider = RCC_APB2_DIV2;
  RCC_ClkInitStruct.APB4CLKDivider = RCC_APB4_DIV2;

  if (HAL_RCC_ClockConfig(&RCC_ClkInitStruct, FLASH_LATENCY_3) != HAL_OK)
  {
    Error_Handler();
  }
}

void PeriphCommonClock_Config(void)
{
  RCC_PeriphCLKInitTypeDef PeriphClkInitStruct = {0};

  /** Initializes the peripherals clock
  */
  PeriphClkInitStruct.PeriphClockSelection = RCC_PERIPHCLK_CKPER;
  PeriphClkInitStruct.CkperClockSelection = RCC_CLKPSOURCE_HSI;
  if (HAL_RCCEx_PeriphCLKConfig(&PeriphClkInitStruct) != HAL_OK)
  {
    Error_Handler();
  }
}

 /* MPU Configuration */

void MPU_Config(void)
{
  MPU_Region_InitTypeDef MPU_InitStruct = {0};

  /* Disables the MPU */
  HAL_MPU_Disable();

  /** Initializes and configures the Region and the memory to be protected
  */
  MPU_InitStruct.Enable = MPU_REGION_ENABLE;
  MPU_InitStruct.Number = MPU_REGION_NUMBER0;
  MPU_InitStruct.BaseAddress = 0x24000000;
  MPU_InitStruct.Size = MPU_REGION_SIZE_512KB;
  MPU_InitStruct.SubRegionDisable = 0xE0;
  MPU_InitStruct.TypeExtField = MPU_TEX_LEVEL1;
  MPU_InitStruct.AccessPermission = MPU_REGION_FULL_ACCESS;
  MPU_InitStruct.DisableExec = MPU_INSTRUCTION_ACCESS_ENABLE;
  MPU_InitStruct.IsShareable = MPU_ACCESS_NOT_SHAREABLE;
  MPU_InitStruct.IsCacheable = MPU_ACCESS_CACHEABLE;
  MPU_InitStruct.IsBufferable = MPU_ACCESS_BUFFERABLE;

  HAL_MPU_ConfigRegion(&MPU_InitStruct);

  /** Initializes and configures the Region and the memory to be protected
  */
  MPU_InitStruct.Number = MPU_REGION_NUMBER1;
  MPU_InitStruct.BaseAddress = 0x60000000;
  MPU_InitStruct.Size = MPU_REGION_SIZE_64KB;
  MPU_InitStruct.SubRegionDisable = 0x00;
  MPU_InitStruct.IsCacheable = MPU_ACCESS_NOT_CACHEABLE;

  HAL_MPU_ConfigRegion(&MPU_InitStruct);

  /** Initializes and configures the Region and the memory to be protected
  */
  MPU_InitStruct.Number = MPU_REGION_NUMBER2;
  MPU_InitStruct.BaseAddress = 0x30000000;
  MPU_InitStruct.SubRegionDisable = 0x0;
  MPU_InitStruct.TypeExtField = MPU_TEX_LEVEL0;
  MPU_InitStruct.IsCacheable = MPU_ACCESS_CACHEABLE;

  HAL_MPU_ConfigRegion(&MPU_InitStruct);

  /** Initializes and configures the Region and the memory to be protected
  */
  MPU_InitStruct.Number = MPU_REGION_NUMBER3;
  MPU_InitStruct.BaseAddress = 0x38000000;
  MPU_InitStruct.IsBufferable = MPU_ACCESS_NOT_BUFFERABLE;

  HAL_MPU_ConfigRegion(&MPU_InitStruct);

  /** Initializes and configures the Region and the memory to be protected
  */
  MPU_InitStruct.Number = MPU_REGION_NUMBER5;
  MPU_InitStruct.BaseAddress = 0xC0000000;
  MPU_InitStruct.Size = MPU_REGION_SIZE_32MB;
  MPU_InitStruct.TypeExtField = MPU_TEX_LEVEL1;

  HAL_MPU_ConfigRegion(&MPU_InitStruct);
  /* Enables the MPU */
  HAL_MPU_Enable(MPU_PRIVILEGED_DEFAULT);

}

void Error_Handler(void)
{
  /* USER CODE BEGIN Error_Handler_Debug */
  /* User can add his own implementation to report the HAL error return state */
//  __disable_irq();
  while (1)
  {
		HAL_GPIO_TogglePin(GPIOB, GPIO_PIN_0);
    HAL_Delay(100);
  }
  /* USER CODE END Error_Handler_Debug */
}
